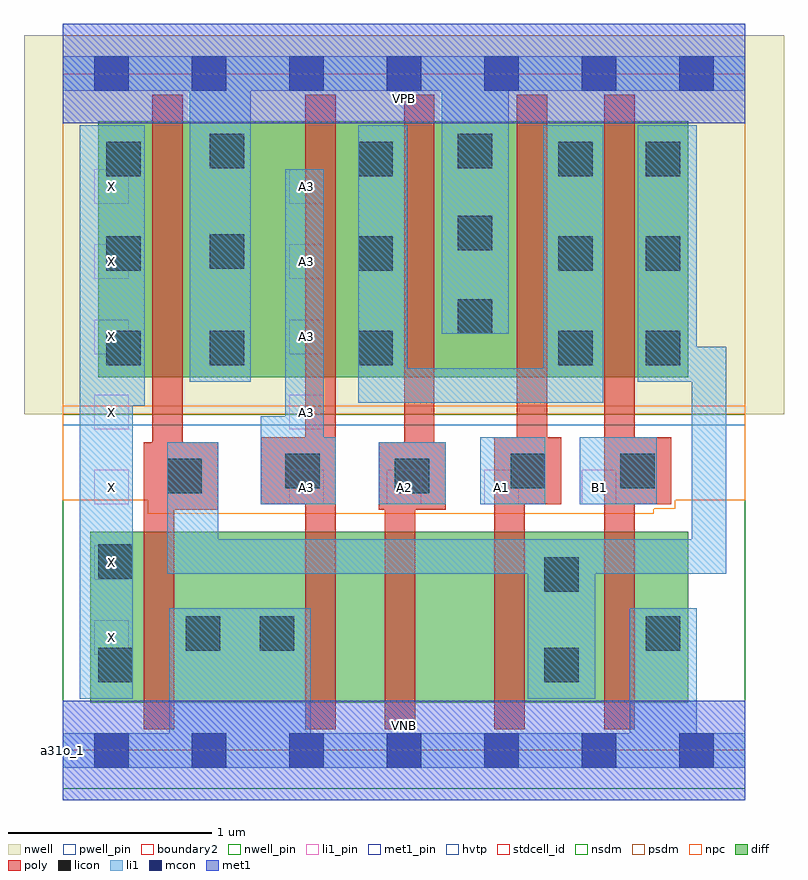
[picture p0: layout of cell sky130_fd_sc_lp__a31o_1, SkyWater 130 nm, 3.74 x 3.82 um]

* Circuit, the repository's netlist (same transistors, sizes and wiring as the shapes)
* Copyright 2020 The SkyWater PDK Authors
*
* Licensed under the Apache License, Version 2.0 (the "License");
* you may not use this file except in compliance with the License.
* You may obtain a copy of the License at
*
*     https://www.apache.org/licenses/LICENSE-2.0
*
* Unless required by applicable law or agreed to in writing, software
* distributed under the License is distributed on an "AS IS" BASIS,
* WITHOUT WARRANTIES OR CONDITIONS OF ANY KIND, either express or implied.
* See the License for the specific language governing permissions and
* limitations under the License.
*
* SPDX-License-Identifier: Apache-2.0

.SUBCKT sky130_fd_sc_lp__a31o_1 A1 A2 A3 B1 VGND VNB VPB VPWR X
*.PININFO A1:I A2:I A3:I B1:I VGND:I VNB:I VPB:I VPWR:I X:O
MMPA0 pndA A1 VPWR VPB sky130_fd_pr__pfet_01v8_hvt m=1 w=1.26U l=0.15U mult=1 sa=0.265
+ sb=0.265 sd=0.28 area=0.063 perim=1.14
MMPA1 pndA A2 VPWR VPB sky130_fd_pr__pfet_01v8_hvt m=1 w=1.26U l=0.15U mult=1 sa=0.265
+ sb=0.265 sd=0.28 area=0.063 perim=1.14
MMPA2 pndA A3 VPWR VPB sky130_fd_pr__pfet_01v8_hvt m=1 w=1.26U l=0.15U mult=1 sa=0.265
+ sb=0.265 sd=0.28 area=0.063 perim=1.14
MMPB0 y B1 pndA VPB sky130_fd_pr__pfet_01v8_hvt m=1 w=1.26U l=0.15U mult=1 sa=0.265
+ sb=0.265 sd=0.28 area=0.063 perim=1.14
MMIPX X y VPWR VPB sky130_fd_pr__pfet_01v8_hvt m=1 w=1.26U l=0.15U mult=1 sa=0.265
+ sb=0.265 sd=0.28 area=0.063 perim=1.14
MMNA0 y A1 sndA1 VNB sky130_fd_pr__nfet_01v8 m=1 w=0.84U l=0.15U mult=1 sa=0.265
+ sb=0.265 sd=0.28 area=0.063 perim=1.14
MMNA1 sndA1 A2 sndA2 VNB sky130_fd_pr__nfet_01v8 m=1 w=0.84U l=0.15U mult=1 sa=0.265
+ sb=0.265 sd=0.28 area=0.063 perim=1.14
MMNA2 sndA2 A3 VGND VNB sky130_fd_pr__nfet_01v8 m=1 w=0.84U l=0.15U mult=1 sa=0.265
+ sb=0.265 sd=0.28 area=0.063 perim=1.14
MMNB0 y B1 VGND VNB sky130_fd_pr__nfet_01v8 m=1 w=0.84U l=0.15U mult=1 sa=0.265
+ sb=0.265 sd=0.28 area=0.063 perim=1.14
MMINX X y VGND VNB sky130_fd_pr__nfet_01v8 m=1 w=0.84U l=0.15U mult=1 sa=0.265
+ sb=0.265 sd=0.28 area=0.063 perim=1.14
.ENDS sky130_fd_sc_lp__a31o_1

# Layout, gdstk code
import gdstk
lib = gdstk.Library(unit=1e-6, precision=1e-09)
def R(c, l, rs):  # rectangles x0, y0, x1, y1
    for r in rs: c.add(gdstk.rectangle(r[:2], r[2:], *l))
def A(c, l, x, y, w, h, nx, ny, dx, dy):  # array of equal rectangles
    R(c, l, [(x+i*dx, y+j*dy, x+i*dx+w, y+j*dy+h) for i in range(nx) for j in range(ny)])
def P(c, l, *ps):  # polygons
    for p in ps: c.add(gdstk.Polygon(p, *l))
nwell_pin = (64, 16)
nwell = (64, 20)
diff = (65, 20)
poly = (66, 20)
licon = (66, 44)
li1_pin = (67, 16)
li1 = (67, 20)
mcon = (67, 44)
met1_pin = (68, 16)
met1 = (68, 20)
hvtp = (78, 44)
stdcell_id = (81, 4)
nsdm = (93, 44)
psdm = (94, 20)
npc = (95, 20)
pwell_pin = (122, 16)
boundary2 = (236, 0)

sky130_fd_sc_lp__a31o_1 = lib.new_cell('sky130_fd_sc_lp__a31o_1')
R(sky130_fd_sc_lp__a31o_1, nwell_pin, [(0,3.085,3.36,3.33)])
R(sky130_fd_sc_lp__a31o_1, nwell, [(-0.19,1.655,3.55,3.52)])
R(sky130_fd_sc_lp__a31o_1, diff, [(0.135,0.235,3.08,1.075), (0.175,1.835,3.08,3.095)])
P(sky130_fd_sc_lp__a31o_1, poly, [(1.885,1.515),(1.83,1.515),(1.83,3.225),(1.68,3.225),(1.68,1.515),(1.555,1.515),(1.555,1.185),(1.585,1.185),(1.585,0.105),(1.735,0.105),(1.735,1.185),(1.885,1.185)],
  [(2.995,1.54),(2.815,1.54),(2.815,3.225),(2.665,3.225),(2.665,0.105),(2.815,0.105),(2.815,1.21),(2.995,1.21)],
  [(2.455,1.54),(2.385,1.54),(2.385,3.225),(2.235,3.225),(2.235,1.54),(2.125,1.54),(2.125,0.105),(2.275,0.105),(2.275,1.21),(2.455,1.21)],
  [(0.765,1.515),(0.59,1.515),(0.59,3.225),(0.44,3.225),(0.44,1.515),(0.4,1.515),(0.4,0.105),(0.55,0.105),(0.55,1.185),(0.765,1.185)],
  [(1.345,3.225),(1.195,3.225),(1.195,1.54),(0.975,1.54),(0.975,1.21),(1.195,1.21),(1.195,0.105),(1.345,0.105)])
A(sky130_fd_sc_lp__a31o_1, licon, 0.215, 1.895, 0.17, 0.17, 1, 3, 0, 0.465)
A(sky130_fd_sc_lp__a31o_1, licon, 1.455, 1.895, 0.17, 0.17, 1, 3, 0, 0.465)
A(sky130_fd_sc_lp__a31o_1, licon, 2.44, 1.895, 0.17, 0.17, 1, 3, 0, 0.465)
A(sky130_fd_sc_lp__a31o_1, licon, 2.87, 1.895, 0.17, 0.17, 1, 3, 0, 0.465)
R(sky130_fd_sc_lp__a31o_1, licon, [(0.175,0.335,0.345,0.505), (2.37,0.335,2.54,0.505), (0.605,0.49,0.775,0.66), (0.97,0.49,1.14,0.66), (2.87,0.49,3.04,0.66), (2.37,0.78,2.54,0.95), (0.175,0.845,0.345,1.015), (0.515,1.265,0.685,1.435), (1.635,1.265,1.805,1.435), (1.095,1.29,1.265,1.46), (2.205,1.29,2.375,1.46), (2.745,1.29,2.915,1.46), (0.725,1.895,0.895,2.065), (1.945,2.05,2.115,2.22), (0.725,2.37,0.895,2.54), (1.945,2.46,2.115,2.63), (0.725,2.865,0.895,3.035), (1.945,2.865,2.115,3.035)])
A(sky130_fd_sc_lp__a31o_1, li1_pin, 0.155, 0.47, 0.17, 0.17, 1, 7, 0, 0.37)
A(sky130_fd_sc_lp__a31o_1, li1_pin, 1.115, 1.21, 0.17, 0.17, 4, 1, 0.48, 0)
A(sky130_fd_sc_lp__a31o_1, li1_pin, 1.115, 1.58, 0.17, 0.17, 1, 4, 0, 0.37)
R(sky130_fd_sc_lp__a31o_1, li1, [(1.555,1.21,1.885,1.515), (2.055,1.21,2.375,1.54), (2.545,1.21,2.925,1.54)])
P(sky130_fd_sc_lp__a31o_1, li1, [(0.405,3.075),(0.085,3.075),(0.085,0.255),(0.345,0.255),(0.345,1.695),(0.405,1.695)],
  [(1.345,1.54),(1.285,1.54),(1.285,2.86),(1.095,2.86),(1.095,1.645),(0.975,1.645),(0.975,1.21),(1.345,1.21)],
  [(2.66,3.075),(2.365,3.075),(2.365,1.88),(1.695,1.88),(1.695,3.075),(1.455,3.075),(1.455,1.71),(2.66,1.71)],
  [(3.36,3.415),(0,3.415),(0,3.245),(0.625,3.245),(0.625,1.815),(0.925,1.815),(0.925,3.245),(1.865,3.245),(1.865,2.05),(2.195,2.05),(2.195,3.245),(3.36,3.245)],
  [(3.265,1.985),(3.12,1.985),(3.12,3.075),(2.83,3.075),(2.83,1.815),(3.095,1.815),(3.095,1.04),(0.765,1.04),(0.765,1.515),(0.515,1.515),(0.515,0.87),(2.29,0.87),(2.29,0.255),(2.62,0.255),(2.62,0.87),(3.265,0.87)],
  [(3.36,0.085),(3.12,0.085),(3.12,0.7),(2.79,0.7),(2.79,0.085),(1.22,0.085),(1.22,0.7),(0.525,0.7),(0.525,0.085),(0,0.085),(0,-0.085),(3.36,-0.085)])
A(sky130_fd_sc_lp__a31o_1, mcon, 0.155, -0.085, 0.17, 0.17, 7, 2, 0.48, 3.33)
R(sky130_fd_sc_lp__a31o_1, met1_pin, [(0,0,3.36,0.245), (0,3.085,3.36,3.33)])
R(sky130_fd_sc_lp__a31o_1, met1, [(0,-0.245,3.36,0.245), (0,3.085,3.36,3.575)])
R(sky130_fd_sc_lp__a31o_1, hvtp, [(0,1.6,3.36,3.33)])
R(sky130_fd_sc_lp__a31o_1, stdcell_id, [(0,0,3.36,3.33)])
R(sky130_fd_sc_lp__a31o_1, nsdm, [(0,-0.19,3.36,1.655)])
R(sky130_fd_sc_lp__a31o_1, psdm, [(0,1.655,3.36,3.52)])
P(sky130_fd_sc_lp__a31o_1, npc, [(3.36,1.695),(0,1.695),(0,1.23),(0.42,1.23),(0.42,1.165),(2.91,1.165),(2.91,1.19),(3.015,1.19),(3.015,1.23),(3.36,1.23)])
R(sky130_fd_sc_lp__a31o_1, pwell_pin, [(0,0,3.36,0.245)])
R(sky130_fd_sc_lp__a31o_1, boundary2, [(0,0,3.36,3.33)])
sky130_fd_sc_lp__a31o_1.add(gdstk.Label('VNB', (1.68,0.123), layer=64, texttype=59))
sky130_fd_sc_lp__a31o_1.add(gdstk.Label('VPB', (1.68,3.208), layer=64, texttype=5))
sky130_fd_sc_lp__a31o_1.add(gdstk.Label('a31o_1', (0,0), layer=83, texttype=44))
sky130_fd_sc_lp__a31o_1.add(gdstk.Label('VPWR', (1.68,3.208), layer=68, texttype=5))
sky130_fd_sc_lp__a31o_1.add(gdstk.Label('VGND', (1.68,0.123), layer=68, texttype=5))
sky130_fd_sc_lp__a31o_1.add(gdstk.Label('A1', (2.16,1.295), layer=67, texttype=5))
sky130_fd_sc_lp__a31o_1.add(gdstk.Label('A2', (1.68,1.295), layer=67, texttype=5))
sky130_fd_sc_lp__a31o_1.add(gdstk.Label('A3', (1.2,1.295), layer=67, texttype=5))
sky130_fd_sc_lp__a31o_1.add(gdstk.Label('A3', (1.2,1.665), layer=67, texttype=5))
sky130_fd_sc_lp__a31o_1.add(gdstk.Label('A3', (1.2,2.035), layer=67, texttype=5))
sky130_fd_sc_lp__a31o_1.add(gdstk.Label('A3', (1.2,2.405), layer=67, texttype=5))
sky130_fd_sc_lp__a31o_1.add(gdstk.Label('A3', (1.2,2.775), layer=67, texttype=5))
sky130_fd_sc_lp__a31o_1.add(gdstk.Label('B1', (2.64,1.295), layer=67, texttype=5))
sky130_fd_sc_lp__a31o_1.add(gdstk.Label('X', (0.24,0.555), layer=67, texttype=5))
sky130_fd_sc_lp__a31o_1.add(gdstk.Label('X', (0.24,0.925), layer=67, texttype=5))
sky130_fd_sc_lp__a31o_1.add(gdstk.Label('X', (0.24,1.295), layer=67, texttype=5))
sky130_fd_sc_lp__a31o_1.add(gdstk.Label('X', (0.24,1.665), layer=67, texttype=5))
sky130_fd_sc_lp__a31o_1.add(gdstk.Label('X', (0.24,2.035), layer=67, texttype=5))
sky130_fd_sc_lp__a31o_1.add(gdstk.Label('X', (0.24,2.405), layer=67, texttype=5))
sky130_fd_sc_lp__a31o_1.add(gdstk.Label('X', (0.24,2.775), layer=67, texttype=5))

lib.write_gds('sky130_fd_sc_lp__a31o_1.gds')
